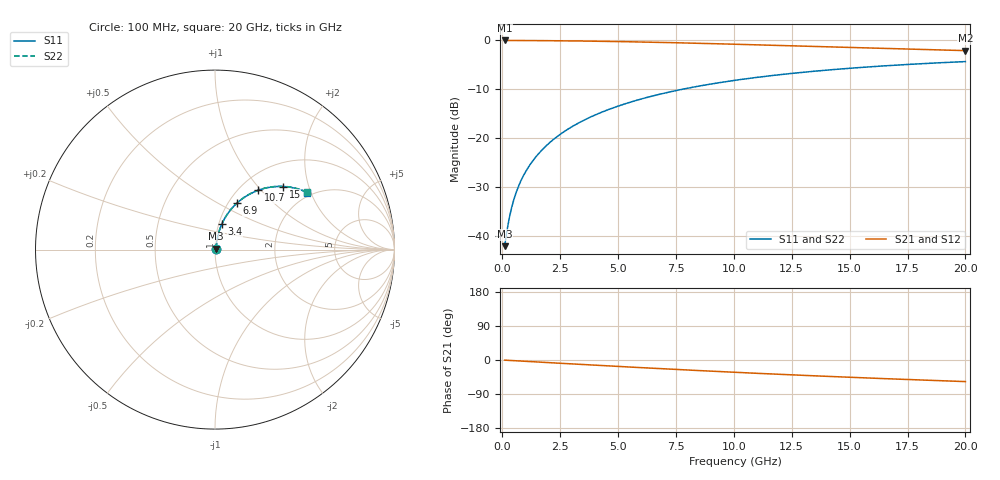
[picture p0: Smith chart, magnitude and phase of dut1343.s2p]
! Touchstone file exported from HFSS 2026.1.0
!  File:  C:/ffzhzh/LocalFiles/Ansys_Project_Files/temp_train_BSMRDL_1343_1783178888_18472.aedt
!  Generated:  11:29:39 PM Jul  4, 2026
!  Design:  BSMRDL
!  Project:  temp_train_BSMRDL_1343_1783178888_18472
! Variables:
!  h_bsmrdl = 2.91um
!  h_ox = 20um
!  h_rdl = 5um
!  h_sub = 80um
!  h_tmrdl = 5um
!  h_tsv = 80um
!  h_via = 3um
!  l_bsmrdl = 791.78um
!  l_sub = 1191.78um
!  l_tmrdl = 200um
!  m_sub = 200um
!  pitch = 58.44um
!  r_tsv = 6um
!  s_tmrdl = 10um
!  w_bsmrdl = 15.14um
!  w_sub = 500um
!  w_tmrdl = 12um
!  x_tsv_center1 = 206um
!  x_tsv_center2 = 1012.92um
!  x_tsv_center3 = 1224.92um
!  x_tsv_center4 = 2031.84um
!  x_tsv_center5 = 2243.84um
!  x_tsv_center6 = 3050.76um
# GHz S MA R 50.000000
! Terminal data exported
! Port[1] = BSM_RDL1_1_T1
! Port[2] = BSM_RDL1_1_T2
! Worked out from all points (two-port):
!   200 points, 100 MHz to 20 GHz, reference 50 ohm
!   highest |S21| = -0.06 dB at 100 MHz (marker M1); lowest = -2.1 dB at 20 GHz (marker M2)
!   |S21| within 3 dB of the highest: start of sweep to end of sweep
!   lowest |S11| = -42.0 dB at 100 MHz (marker M3), VSWR 1.02, Z = 50.6 + j0.463 ohm
!   |S11| at or under -10 dB: start of sweep to 7.795 GHz
!   |S22| runs from -42.0 to -4.4 dB; largest |S21 - S12| = 4.1e-15
!   S11 on the Smith chart (normalised r, x): 100 MHz: 1.01, +0.01; 3.4 GHz: 1.03, +0.30; 6.9 GHz: 1.10, +0.61; 10.7 GHz: 1.21, +0.96; 15 GHz: 1.44, +1.38; 20 GHz: 1.89, +1.89
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0.1  0.007899 35.4  0.9936 -0.4  0.9936 -0.4  0.007899 35.4
! Gamma 0 0 0 0
! Port Impedance 50 0 50 0
0.2  0.01126 54.0  0.9934 -0.7  0.9934 -0.7  0.01126 54.0
0.3  0.01525 63.1  0.9933 -1.1  0.9933 -1.1  0.01525 63.1
0.4  0.01943 68.1  0.993 -1.4  0.993 -1.4  0.01943 68.1
0.5  0.02367 71.2  0.9928 -1.8  0.9928 -1.8  0.02367 71.2
0.6  0.02794 73.2  0.9926 -2.1  0.9926 -2.1  0.02794 73.2
0.8  0.03651 75.7  0.9921 -2.8  0.9921 -2.8  0.03651 75.7
1.1  0.04939 77.4  0.9913 -3.8  0.9913 -3.8  0.04939 77.4
1.5  0.06659 78.1  0.9901 -5.2  0.9901 -5.2  0.06658 78.2
2  0.08805 77.9  0.9882 -6.9  0.9882 -6.9  0.08805 78.0
2.6  0.1136 76.9  0.9854 -8.9  0.9854 -8.9  0.1136 77.0
3.4  0.1473 75.0  0.9807 -11.6  0.9807 -11.6  0.1473 75.1
3.5  0.1515 74.8  0.98 -12.0  0.98 -12.0  0.1515 74.8
5  0.2124 70.5  0.968 -17.0  0.968 -17.0  0.2123 70.6
6.8  0.2808 65.2  0.9496 -22.7  0.9496 -22.7  0.2808 65.2
6.9  0.2845 64.9  0.9484 -23.0  0.9484 -23.0  0.2845 64.9
10.1  0.391 55.6  0.9086 -32.6  0.9086 -32.6  0.3909 55.7
10.7  0.4087 53.9  0.9006 -34.3  0.9006 -34.3  0.4087 54.1
13.4  0.4804 46.8  0.8641 -41.6  0.8641 -41.6  0.4803 47.0
15  0.5167 42.9  0.8429 -45.6  0.8429 -45.6  0.5166 43.0
16.7  0.5507 38.9  0.8212 -49.6  0.8212 -49.6  0.5506 39.1
20  0.6047 31.7  0.7829 -57.0  0.7829 -57.0  0.6046 31.9
